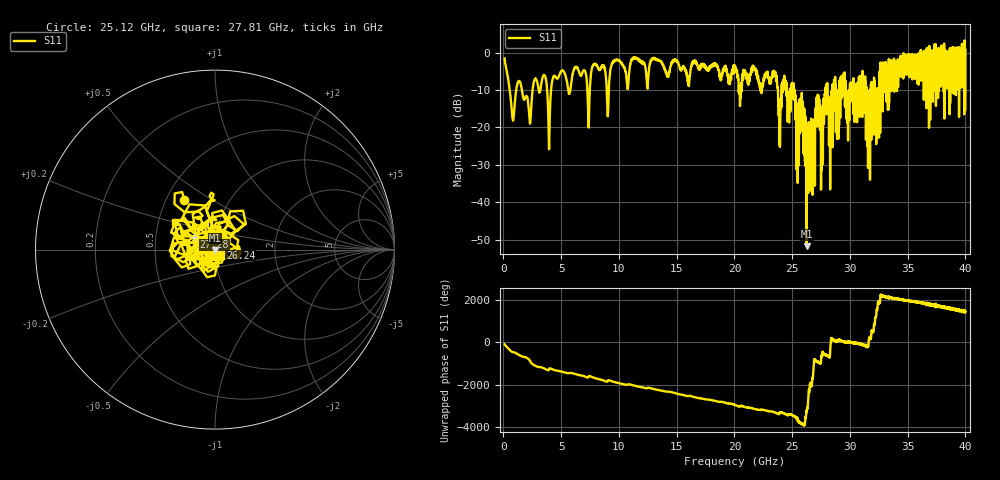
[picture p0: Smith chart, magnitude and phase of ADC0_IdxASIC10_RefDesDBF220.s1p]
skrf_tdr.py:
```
import skrf as rf
import numpy as np
import matplotlib.pyplot as plt

# Load S1P
ntwk = rf.Network(r'C:\Users\jrog1\Documents\MDA\python-rf-tools\templates\s1p_adc0\ADC0_IdxASIC10_RefDesDBF220.s1p')

# Apply Kaiser window (β=6 ≈ -44 dB sidelobes) before IFFT
ntwk_w = ntwk.windowed(window=('kaiser', 6))

# --- Impulse response ---
fig, axes = plt.subplots(3, 1, figsize=(10, 10))

t = ntwk_w.s_time_db.flatten()  # time axis is in ntwk.frequency... 
# Actually use:
ntwk_w.plot_s_time_db(ax=axes[0], label='S11 impulse (dB)')
axes[0].set_title('TDR Impulse Response')
axes[0].set_xlabel('Time (ns)')
axes[0].set_xlim([0, 20])  # adjust for your expected line length

# --- Step response and impedance ---
# Manual computation from windowed network
s11 = ntwk_w.s[:, 0, 0]        # complex S11 array
freqs = ntwk_w.f                # Hz

# IFFT to get impulse response (skrf zero-pads internally for plot,
# but we'll do it manually for the impedance profile)
Z0 = ntwk.z0[0, 0].real     # reference impedance (usually 50 Ω)
```
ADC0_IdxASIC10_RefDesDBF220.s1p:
! ADC = 0
! IdxASIC = 10
! RefDesDBF = 220
# Hz S DB R 50
! freq  S11(dB)  S11(deg)
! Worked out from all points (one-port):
!   3991 points, 100 MHz to 40 GHz, reference 50 ohm
!   lowest |S11| = -51.7 dB at 26.25 GHz (marker M1), VSWR 1.01, Z = 50.2 - j0.181 ohm
!   |S11| at or under -10 dB: 543 MHz to 1.101 GHz (557.6 MHz wide, 67.9 % of centre); 1.6 GHz to 2.519 GHz (919.2 MHz wide, 44.6 % of centre); 25.22 GHz to 27.89 GHz (2.671 GHz wide, 10.1 % of centre)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
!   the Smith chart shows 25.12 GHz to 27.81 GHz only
!   S11 on the Smith chart (normalised r, x): 25.12 GHz: 0.62, +0.38; 26.24 GHz: 1.06, +0.02; 27.28 GHz: 0.78, +0.11; 27.81 GHz: 0.61, +0.20
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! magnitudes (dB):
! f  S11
! 100 MHz  -1.6
! 820 MHz  -18.0
! 1.33 GHz  -7.6
! 3.95 GHz  -25.8
! 13.4 GHz  -2.0
! 25.12 GHz  -9.8
! 26.24 GHz  -30.1
! 26.25 GHz  -51.7
! 26.7 GHz  -24.2
! 27.28 GHz  -17.3
! 27.81 GHz  -11.4
! 31.66 GHz  -14.9
! 34.73 GHz  -3.8
! 40 GHz  -15.2
